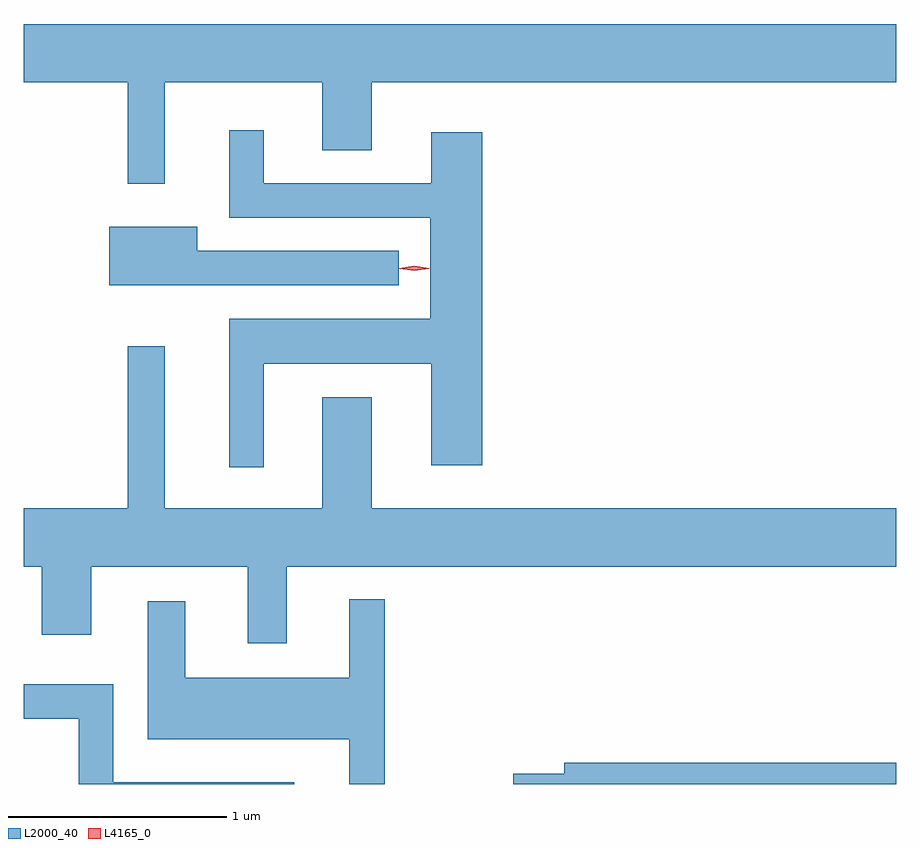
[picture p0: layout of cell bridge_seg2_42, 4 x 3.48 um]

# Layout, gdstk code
import gdstk
lib = gdstk.Library(unit=1e-6, precision=1e-09)
def P(c, l, *ps):  # polygons
    for p in ps: c.add(gdstk.Polygon(p, *l))
L2000_40 = (2000, 40)
L4165_0 = (4165, 0)

bridge_seg2_42 = lib.new_cell('bridge_seg2_42')
P(bridge_seg2_42, L2000_40, [(1286.669,1028.336),(1287.391,1028.336),(1287.391,1028.026),(1287.619,1028.026),(1287.619,1028.336),(1290.023,1028.336),(1290.023,1028.604),(1286.023,1028.604),(1286.023,1028.336),(1286.501,1028.336),(1286.501,1027.873),(1286.669,1027.873)],
  [(1287.124,1027.046),(1287.891,1027.046),(1287.891,1026.581),(1288.124,1026.581),(1288.124,1028.109),(1287.891,1028.109),(1287.891,1027.874),(1287.124,1027.874),(1287.124,1028.118),(1286.966,1028.118),(1286.966,1027.716),(1287.886,1027.716),(1287.886,1027.254),(1286.966,1027.254),(1286.966,1026.573),(1287.124,1026.573)],
  [(1287.743,1027.564),(1286.819,1027.564),(1286.819,1027.674),(1286.416,1027.674),(1286.416,1027.406),(1287.743,1027.406)],
  [(1287.229,1026.116),(1290.023,1026.116),(1290.023,1026.384),(1287.619,1026.384),(1287.619,1026.894),(1287.391,1026.894),(1287.391,1026.384),(1286.669,1026.384),(1286.669,1027.128),(1286.501,1027.128),(1286.501,1026.384),(1286.023,1026.384),(1286.023,1026.116),(1286.106,1026.116),(1286.106,1025.806),(1286.334,1025.806),(1286.334,1026.116),(1287.051,1026.116),(1287.051,1025.766),(1287.229,1025.766)],
  [(1287.679,1025.968),(1287.516,1025.968),(1287.516,1025.609),(1286.764,1025.609),(1286.764,1025.959),(1286.591,1025.959),(1286.591,1025.326),(1287.516,1025.326),(1287.516,1025.121),(1287.679,1025.121)],
  [(1287.263,1025.129),(1286.434,1025.129),(1286.434,1025.579),(1286.023,1025.579),(1286.023,1025.421),(1286.276,1025.421),(1286.276,1025.121),(1287.263,1025.121)],
  [(1290.023,1025.219),(1288.501,1025.219),(1288.501,1025.169),(1288.266,1025.169),(1288.266,1025.121),(1290.023,1025.121)])
P(bridge_seg2_42, L4165_0, [(1287.813,1027.475),(1287.744,1027.484),(1287.744,1027.485),(1287.744,1027.485),(1287.813,1027.495),(1287.882,1027.485),(1287.882,1027.485),(1287.882,1027.484)],
  [(1287.813,1027.474),(1287.747,1027.483),(1287.747,1027.484),(1287.747,1027.484),(1287.813,1027.494),(1287.879,1027.484),(1287.879,1027.484),(1287.879,1027.483)])

lib.write_gds('bridge_seg2_42.gds')
